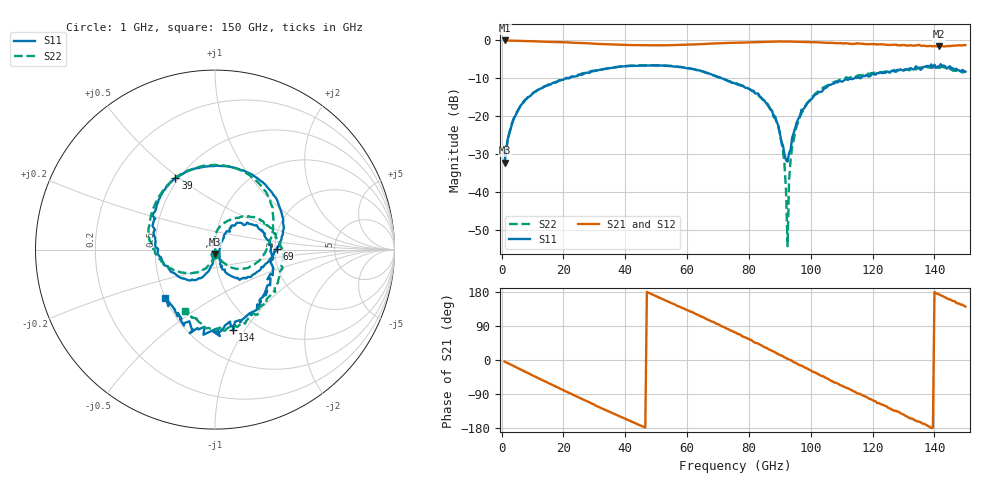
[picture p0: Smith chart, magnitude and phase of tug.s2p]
! hatab_megtron7_step30_1p0mm: multiline TRL calibrated (TUGMultilineTRL, scikit-rf 2.1.0)
! raw data ZiadHatab/verification-multiline-trl-calibration @ 021e735, mean of the repeated sweeps
! reference impedance: characteristic impedance of the 94 um 50 Ohm line,
! NOT 50 Ohm; the R value below is a placeholder required by the format
# Hz S RI R 50
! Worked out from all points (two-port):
!   299 points, 1 GHz to 150 GHz, reference 50 ohm
!   highest |S21| = 0.01 dB at 1 GHz (marker M1); lowest = -1.6 dB at 141.5 GHz (marker M2)
!   |S21| within 3 dB of the highest: start of sweep to end of sweep
!   lowest |S11| = -32.2 dB at 1 GHz (marker M3), VSWR 1.05, Z = 49.9 - j2.44 ohm
!   |S11| at or under -10 dB: start of sweep to 20.69 GHz; 71.3 GHz to 114 GHz (42.7 GHz wide, 46.1 % of centre)
!   |S22| runs from -54.2 to -6.5 dB; largest |S21 - S12| = 0.11
!   S11 on the Smith chart (normalised r, x): 1 GHz: 1.00, -0.05; 39 GHz: 0.48, +0.48; 69 GHz: 2.04, +0.02; 134 GHz: 0.78, -0.88; 150 GHz: 0.50, -0.32
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1e9  -0.000757 -0.0244  0.998 -0.0716  0.9981 -0.0732  -0.0016 -0.0251
3.5e9  -0.0146 -0.0817  0.9637 -0.249  0.9636 -0.2491  -0.0263 -0.0783
7.5e9  -0.0634 -0.1481  0.8468 -0.5011  0.8465 -0.5003  -0.1015 -0.1276
1.7e10  -0.2556 -0.1096  0.3586 -0.8852  0.3591 -0.8834  -0.2617 -0.0941
2.6e10  -0.3346 0.1114  -0.2045 -0.9027  -0.2017 -0.9024  -0.3647 0.0489
3.9e10  -0.2208 0.3974  -0.7725 -0.4132  -0.758 -0.4393  -0.2217 0.4
5.1e10  0.1584 0.4408  -0.8322 0.2301  -0.8387 0.2073  0.079 0.4639
6.9e10  0.3428 0.00419  -0.126 0.9064  -0.158 0.9006  0.3238 0.1106
7.55e10  0.2438 -0.1194  0.2769 0.8918  0.2418 0.9034  0.2749 -0.0221
8.3e10  0.1201 -0.16  0.6881 0.6554  0.674 0.6718  0.1568 -0.1069
8.95e10  0.0321 -0.0688  0.9328 0.2568  0.9176 0.3073  0.0363 -0.0632
9.15e10  0.0236 -0.0212  0.9617 0.1221  0.9568 0.1721  0.00976 -0.0211
9.2e10  0.0247 -0.00958  0.9644 0.0824  0.9595 0.1336  0.00501 -0.00914
9.25e10  0.0252 0.00132  0.965 0.0505  0.9637 0.0967  0.00144 0.0013
9.3e10  0.0298 0.0138  0.9651 0.0233  0.9633 0.065  -0.00119 0.0146
9.4e10  0.0336 0.0406  0.9645 -0.0417  0.9697 -0.00347  -0.00288 0.0399
1.005e11  0.1101 0.1335  0.8191 -0.479  0.8478 -0.4328  0.0747 0.1621
1.15e11  0.3164 -0.0465  0.0307 -0.9157  0.1037 -0.9103  0.3304 0.0881
1.255e11  0.248 -0.2814  -0.5335 -0.6891  -0.472 -0.7296  0.3566 -0.1562
1.34e11  0.0988 -0.4461  -0.8107 -0.2854  -0.7898 -0.3575  0.215 -0.3551
1.415e11  -0.0972 -0.4371  -0.8292 0.098  -0.833 0.0534  0.0245 -0.4347
1.5e11  -0.2781 -0.2693  -0.6767 0.5436  -0.7315 0.4833  -0.1679 -0.3443
